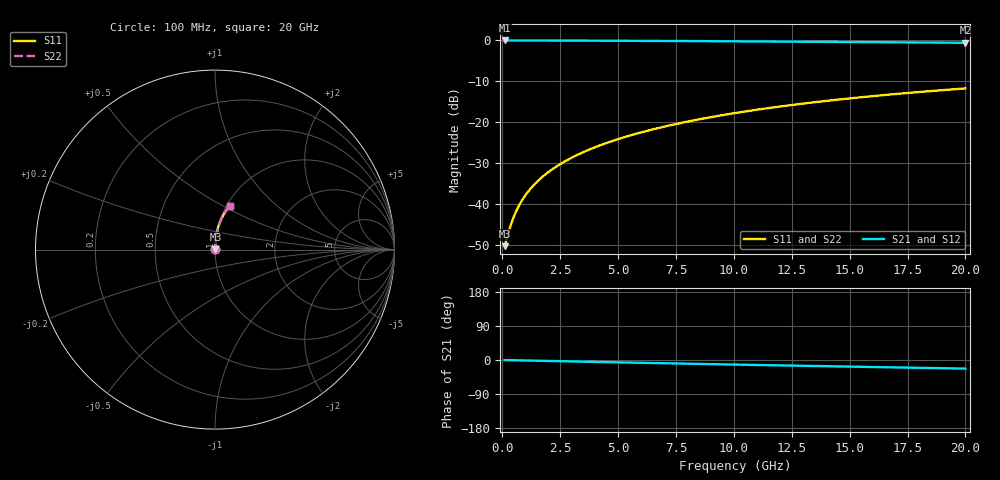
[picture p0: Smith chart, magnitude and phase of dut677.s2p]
! Touchstone file exported from HFSS 2024.1.0
!  File:  C:/UserFiles/LocalFiles/RDL_TSV_Batchsim/temp_RDL_top_677_1779782323.aedt
!  Generated:  04:01:01 PM May 26, 2026
!  Design:  RDL_top
!  Project:  temp_RDL_top_677_1779782323
!  Setup:  Setup1
!  Solution:  Sweep
! Variables:
!  dtsv = 10.80580581um
!  hbump = 3um
!  htsv = 74.92um
!  ldown = 100um
!  lrdl = 270.36um
!  p = 40
!  p1 = 47.74um
!  rhole = 1um
!  t = 450um
!  tdown = 3.915915916um
!  trdl = 2.1um
!  wdown = 15.38538539um
!  wrdl = 18.76um
# GHz S MA R 50.000000
! Terminal data exported
! Port[1] = Box2_T1
! Port[2] = Box2_T2
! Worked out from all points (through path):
!   200 points, 100 MHz to 20 GHz, reference 50 ohm
!   highest |S21| = -0.02 dB at 100 MHz (marker M1); lowest = -0.6 dB at 20 GHz (marker M2)
!   group delay of S21, straight-line fit = 3.13 ps
!   lowest |S11| = -50.3 dB at 100 MHz (marker M3), VSWR 1.01, Z = 50.3 + j0.132 ohm
!   |S11| at or under -10 dB: start of sweep to end of sweep
!   |S22| runs from -50.3 to -11.7 dB; largest |S21 - S12| = 4.2e-15
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0.1  0.003071 25.3  0.9972 -0.1  0.9972 -0.1  0.003071 25.3
! Gamma 0 0 0 0
! Port Impedance 50 0 50 0
0.3  0.004842 53.5  0.9971 -0.4  0.9971 -0.4  0.004842 53.5
0.4  0.005938 60.2  0.997 -0.5  0.997 -0.5  0.005938 60.2
0.5  0.007074 64.7  0.9969 -0.7  0.9969 -0.7  0.007074 64.7
0.6  0.008225 67.9  0.9968 -0.8  0.9968 -0.8  0.008225 67.9
0.7  0.009384 70.3  0.9967 -0.9  0.9967 -0.9  0.009384 70.3
0.9  0.01171 73.8  0.9965 -1.2  0.9965 -1.2  0.01171 73.8
1.2  0.01523 77.1  0.9962 -1.5  0.9962 -1.5  0.01523 77.1
1.4  0.0176 78.6  0.996 -1.8  0.996 -1.8  0.0176 78.6
1.7  0.02117 80.3  0.9956 -2.2  0.9956 -2.2  0.02117 80.3
2.2  0.02719 82.1  0.9949 -2.8  0.9949 -2.8  0.02719 82.1
2.8  0.03452 83.3  0.994 -3.6  0.994 -3.6  0.03452 83.3
3.5  0.0432 84.2  0.9927 -4.4  0.9927 -4.4  0.0432 84.2
4.2  0.05201 84.6  0.9911 -5.3  0.9911 -5.3  0.05201 84.6
5  0.06225 84.7  0.9892 -6.2  0.9892 -6.2  0.06225 84.7
5.9  0.07396 84.6  0.9867 -7.3  0.9867 -7.3  0.07396 84.6
6.8  0.08584 84.2  0.984 -8.4  0.984 -8.4  0.08584 84.2
8.4  0.1073 83.1  0.9789 -10.2  0.9789 -10.2  0.1073 83.1
10.1  0.1302 81.7  0.9731 -12.2  0.9731 -12.2  0.1302 81.7
13.4  0.1746 78.3  0.961 -15.8  0.961 -15.8  0.1746 78.3
16.7  0.2177 74.7  0.9481 -19.3  0.9481 -19.3  0.2177 74.7
20  0.259 71.1  0.9345 -22.7  0.9345 -22.7  0.259 71.1
